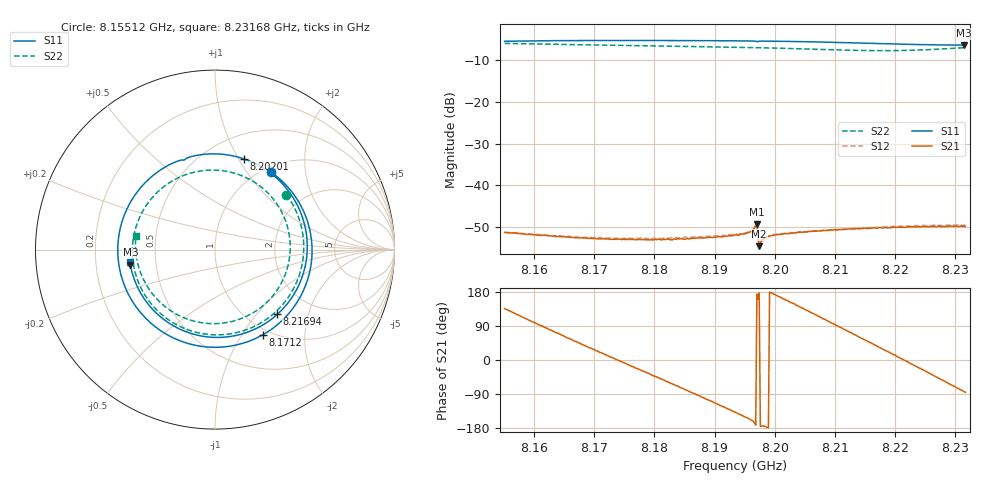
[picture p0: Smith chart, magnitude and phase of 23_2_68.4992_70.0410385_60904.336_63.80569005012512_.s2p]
#  HZ  S  RI  R  50.00
! Rohde & Schwarz Vector Network Analyzer
! Rohde-Schwarz,ZNB20-2Port,1311601062101988,3.16
! Created: UTC 3/20/2024, 5:04:45 PM
! freq[Hz]  re:S11  im:S11  re:S21  im:S21  re:S12  im:S12  re:S22  im:S22
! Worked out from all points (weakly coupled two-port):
!   401 points, 8.15512 GHz to 8.23168 GHz, reference 50 ohm
!   highest |S21| = -49.32 dB at 8.19704 GHz (marker M1); lowest = -54.5 dB at 8.19742 GHz (marker M2)
!   lowest |S11| = -6.4 dB at 8.23149 GHz (marker M3), VSWR 2.84, Z = 17.7 - j3.9 ohm
!   |S11| at or under -10 dB: nowhere
!   |S22| runs from -7.7 to -6.0 dB; largest |S21 - S12| = 0.00026
!   S11 on the Smith chart (normalised r, x): 8.15512 GHz: 1.09, +1.31; 8.1712 GHz: 0.92, -1.24; 8.20201 GHz: 0.75, +1.06; 8.21694 GHz: 1.35, -1.30; 8.23168 GHz: 0.35, -0.07
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8.155119e9  0.3118 0.4315  -0.00196 0.00192  -0.00196 0.00194  0.3977 0.3065
8.161627e9  0.5353 0.0703  0.000135 0.00253  0.000111 0.00253  0.4875 -0.0711
8.167943e9  0.4315 -0.3307  0.00177 0.00156  0.00179 0.00161  0.2952 -0.382
8.171197e9  0.2666 -0.4745  0.00216 0.000757  0.00224 0.000776  0.1249 -0.4614
8.175982e9  -0.048 -0.5422  0.00217 -0.000577  0.00225 -0.000584  -0.145 -0.4488
8.180767e9  -0.3478 -0.4177  0.00156 -0.00167  0.00152 -0.00176  -0.3619 -0.294
8.187084e9  -0.5408 -0.0364  -8.16e-05 -0.00236  -0.000147 -0.00243  -0.4585 0.0359
8.1934e9  -0.3937 0.3679  -0.00188 -0.00174  -0.00199 -0.00169  -0.299 0.3394
8.196654e9  -0.2026 0.495  -0.00304 -0.000758  -0.00309 -0.000665  -0.1393 0.4251
8.197036e9  -0.1751 0.4983  -0.0034 0.000372  -0.00346 0.000553  -0.1185 0.4306
8.197419e9  -0.1591 0.5087  -0.00187 9.93e-05  -0.00193 0.000195  -0.0974 0.4354
8.197802e9  -0.1318 0.5184  -0.00213 -0.000191  -0.00222 -0.000135  -0.0761 0.4389
8.202013e9  0.163 0.5048  -0.00244 0.00103  -0.00242 0.00112  0.1589 0.4076
8.206224e9  0.4033 0.3346  -0.00156 0.00235  -0.00148 0.00242  0.3452 0.2538
8.211583e9  0.5127 -0.0227  0.000485 0.00295  0.000563 0.00294  0.414 -0.0533
8.216942e9  0.3469 -0.3609  0.00245 0.00186  0.00257 0.00183  0.2415 -0.3327
8.219048e9  0.2201 -0.4442  0.00293 0.00108  0.00305 0.000993  0.1194 -0.3936
8.221919e9  0.0187 -0.4894  0.0032 -0.000215  0.00326 -0.000332  -0.0693 -0.4083
8.22479e9  -0.1837 -0.4486  0.00286 -0.00146  0.00288 -0.00166  -0.2496 -0.3386
8.228235e9  -0.3779 -0.2968  0.00178 -0.00269  0.0017 -0.00288  -0.4023 -0.159
8.231489e9  -0.4715 -0.0848  0.000362 -0.00321  0.000155 -0.00335  -0.442 0.0633
8.23168e9  -0.4738 -0.0712  0.000277 -0.00323  8.86e-05 -0.00337  -0.4408 0.0768
